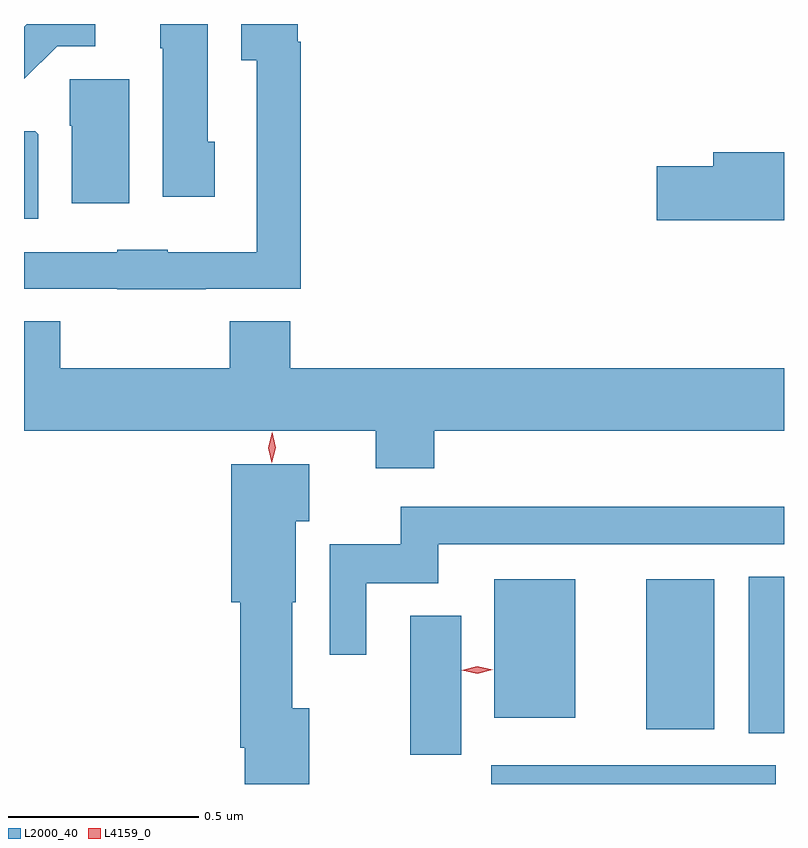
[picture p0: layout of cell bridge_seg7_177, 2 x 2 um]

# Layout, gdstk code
import gdstk
lib = gdstk.Library(unit=1e-6, precision=1e-09)
def R(c, l, rs):  # rectangles x0, y0, x1, y1
    for r in rs: c.add(gdstk.rectangle(r[:2], r[2:], *l))
def P(c, l, *ps):  # polygons
    for p in ps: c.add(gdstk.Polygon(p, *l))
L2000_40 = (2000, 40)
L4159_0 = (4159, 0)

bridge_seg7_177 = lib.new_cell('bridge_seg7_177')
R(bridge_seg7_177, L2000_40, [(401.331,1050.302,402.079,1050.351), (401.117,1050.379,401.251,1050.745), (402.008,1050.436,402.101,1050.848), (401.738,1050.446,401.917,1050.841), (401.339,1050.476,401.551,1050.841)])
P(bridge_seg7_177, L2000_40, [(400.579,1051.605),(400.829,1051.605),(400.829,1052.255),(400.822,1052.255),(400.822,1052.302),(400.673,1052.302),(400.673,1052.207),(400.713,1052.207),(400.713,1051.702),(400.479,1051.702),(400.479,1051.708),(400.347,1051.708),(400.347,1051.701),(400.101,1051.701),(400.101,1051.605),(400.347,1051.605),(400.347,1051.604),(400.579,1051.604)],
  [(400.188,1052.244),(400.288,1052.244),(400.288,1052.302),(400.108,1052.302),(400.101,1052.295),(400.101,1052.158)],
  [(400.603,1051.992),(400.585,1051.992),(400.585,1052.302),(400.46,1052.302),(400.46,1052.238),(400.466,1052.238),(400.466,1051.848),(400.603,1051.848)],
  [(400.378,1052.157),(400.222,1052.157),(400.222,1052.034),(400.226,1052.034),(400.226,1051.83),(400.378,1051.83)],
  [(400.138,1052.012),(400.13,1052.02),(400.101,1052.02),(400.101,1051.79),(400.138,1051.79)],
  [(402.101,1051.964),(401.915,1051.964),(401.915,1051.928),(401.766,1051.928),(401.766,1051.786),(402.101,1051.786)],
  [(401.18,1051.232),(402.101,1051.232),(402.101,1051.396),(400.802,1051.396),(400.802,1051.52),(400.642,1051.52),(400.642,1051.396),(400.197,1051.396),(400.197,1051.52),(400.101,1051.52),(400.101,1051.232),(401.027,1051.232),(401.027,1051.133),(401.18,1051.133)],
  [(400.852,1050.502),(400.807,1050.502),(400.807,1050.78),(400.816,1050.78),(400.816,1050.993),(400.851,1050.993),(400.851,1051.144),(400.646,1051.144),(400.646,1050.78),(400.67,1050.78),(400.67,1050.398),(400.682,1050.398),(400.682,1050.302),(400.852,1050.302)],
  [(401.001,1050.83),(401.191,1050.83),(401.191,1050.933),(402.101,1050.933),(402.101,1051.031),(401.092,1051.031),(401.092,1050.933),(400.906,1050.933),(400.906,1050.642),(401.001,1050.642)])
P(bridge_seg7_177, L4159_0, [(401.294,1050.592),(401.253,1050.602),(401.253,1050.602),(401.253,1050.602),(401.294,1050.612),(401.334,1050.603),(401.335,1050.603),(401.334,1050.603)],
  [(400.753,1051.147),(400.753,1051.147),(400.744,1051.187),(400.754,1051.228),(400.754,1051.228),(400.754,1051.228),(400.764,1051.187),(400.753,1051.147)])

lib.write_gds('bridge_seg7_177.gds')
